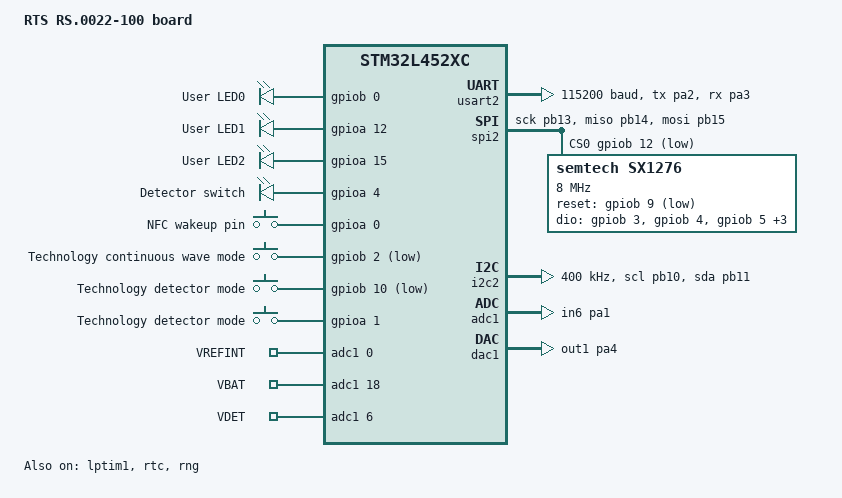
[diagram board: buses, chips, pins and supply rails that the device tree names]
/dts-v1/;
#include <st/l4/stm32l452Xc.dtsi>
#include <st/l4/stm32l452c(c-e)ux-pinctrl.dtsi>

/ {
    model = "RTS RS.0022-100 board";
    compatible = "rts,rs_0022_100";

    chosen {
        zephyr,console = &usart2;
        zephyr,shell-uart = &usart2;
        zephyr,sram = &sram0;
        zephyr,flash = &flash0;
    };

    power-states {
        stop0: state0 {
            compatible = "zephyr,power-state";
            power-state-name = "suspend-to-idle";
            substate-id = <1>;
            min-residency-us = <100>;
        };
        stop1: state1 {
            compatible = "zephyr,power-state";
            power-state-name = "suspend-to-idle";
            substate-id = <2>;
            min-residency-us = <500>;
        };
        stop2: state2 {
            compatible = "zephyr,power-state";
            power-state-name = "suspend-to-idle";
            substate-id = <3>;
            min-residency-us = <900>;
        };
    };

    leds {
        compatible = "gpio-leds";
        yellow_led: led_0 {
            gpios = <&gpiob 0 GPIO_ACTIVE_HIGH>;
            label = "User LED0";
        };
        green_led: led_1 {
            gpios = <&gpioa 12 GPIO_ACTIVE_HIGH>;
            label = "User LED1";
        };
        red_led: led_2 {
            gpios = <&gpioa 15 GPIO_ACTIVE_HIGH>;
            label = "User LED2";
        };
        detector_sw: det {
            gpios = <&gpioa 4 GPIO_ACTIVE_HIGH>;
            label = "Detector switch";
        };
    };

    keys {
        compatible = "gpio-keys";
        nfc_wkup: nfc_int {
            gpios = <&gpioa 0 GPIO_ACTIVE_HIGH>;
            label = "NFC wakeup pin";
        };
        technology_cw: pb2 {
            gpios = <&gpiob 2 (GPIO_ACTIVE_LOW|GPIO_PULL_UP)>;
            label = "Technology continuous wave mode";
        };
        technology_sensor: pb10 {
            gpios = <&gpiob 10 (GPIO_ACTIVE_LOW|GPIO_PULL_UP)>;
            label = "Technology detector mode";
        };
        comp_pin: pa1 {
            gpios = <&gpioa 1 GPIO_ACTIVE_HIGH>;
            label = "Technology detector mode";
        };
    };

    zephyr,user {
        dac = <&dac1>;
        dac-channel-id = <1>;
        dac-resolution = <12>;
        io-channels = <&adc1 0>, <&adc1 18>, <&adc1 6>;
        io-channel-names = "VREFINT", "VBAT", "VDET";
        adc-resolution = <12>;
    };

    aliases {
        led0 = &yellow_led;
        led1 = &green_led;
        led2 = &red_led;
        lora0 = &lora0;
        wkup = &nfc_wkup;
        detector-sw = &detector_sw;
        cw = &technology_cw;
        sens = &technology_sensor;
        comp-pin = &comp_pin;
    };
};

&cpu0 {
    cpu-power-states = <&stop0 &stop1 &stop2>;
};

&clk_hsi {
    status = "okay";
};

&clk_lsi {
    status = "okay";
};

&lptim1 {
    status = "okay";
};

&pll {
    status = "okay";
    div-m = <1>;            /*  16 / 1  = 16MHz  */
    mul-n = <20>;           /*  16 * 20 = 320MHz */
    div-r = <4>;            /* 320 / 4  = 80MHz  */
    clocks = <&clk_hsi>;
};

&rcc {
    status = "okay";
    clocks = <&pll>;
    clock-frequency = <DT_FREQ_M(80)>;
    ahb-prescaler = <1>;
    apb1-prescaler = <1>;
    apb2-prescaler = <1>;
};

&usart2 {
    status = "okay";
    pinctrl-0 = <&usart2_tx_pa2 &usart2_rx_pa3>;
    pinctrl-names = "default";
    current-speed = <115200>;
};

&dma1 {
    status = "okay";
};

&spi1 {
    status = "disabled";
    pinctrl-0 = <&spi1_sck_pa5 &spi1_miso_pa6 &spi1_mosi_pa7>;
    pinctrl-names = "default";
};

&spi2 {
    status = "okay";
    pinctrl-0 = <&spi2_sck_pb13 &spi2_miso_pb14 &spi2_mosi_pb15>;
    pinctrl-names = "default";
    cs-gpios = <&gpiob 12 (GPIO_ACTIVE_LOW | GPIO_PULL_UP)>;
    lora0: sx1276@0 {
        status = "okay";
        compatible = "semtech,sx1276";
        reg = <0>;
        label = "SX1276";
        spi-max-frequency = <8000000>;
        reset-gpios = <&gpiob 9 (GPIO_ACTIVE_LOW | GPIO_OPEN_DRAIN)>;
        dio-gpios = <&gpiob 3 (GPIO_ACTIVE_HIGH | GPIO_PULL_DOWN)>,
                    <&gpiob 4 (GPIO_ACTIVE_HIGH | GPIO_PULL_DOWN)>,
                    <&gpiob 5 (GPIO_ACTIVE_HIGH | GPIO_PULL_DOWN)>,
                    <&gpiob 7 (GPIO_ACTIVE_HIGH | GPIO_PULL_DOWN)>,
                    <&gpiob 6 (GPIO_ACTIVE_HIGH | GPIO_PULL_DOWN)>,
                    <&gpiob 8 (GPIO_ACTIVE_HIGH | GPIO_PULL_DOWN)>;
        power-amplifier-output = "rfo";
    };
};

&i2c2 {
    status = "okay";
    pinctrl-0 = <&i2c2_scl_pb10 &i2c2_sda_pb11>;
    pinctrl-names = "default";
    clock-frequency = <I2C_BITRATE_FAST>;
};

&adc1 {
    pinctrl-0 = <&adc1_in6_pa1>;
    pinctrl-names = "default";
    status = "okay";
};

&dac1 {
    pinctrl-0 = <&dac1_out1_pa4>;
    pinctrl-names = "default";
    status = "okay";
};

&rtc {
    status = "okay";
};

&rng {
    status = "okay";
};

&flash0 {
    /*
     * For more information, see:
     * http://docs.zephyrproject.org/latest/guides/dts/index.html#flash-partitions
     */
    partitions {
        compatible = "fixed-partitions";
        #address-cells = <1>;
        #size-cells = <1>;
        /*
        boot_partition: partition@0 {
            label = "mcuboot";
            reg = <0x00000000 0xc000>;
        };
        slot0_partition: partition@c000 {
            label = "image-0";
            reg = <0x0000C000 0x32000>;
        };
        slot1_partition: partition@3e000 {
            label = "image-1";
            reg = <0x0003E000 0x32000>;
        };
        scratch_partition: partition@70000 {
            label = "image-scratch";
            reg = <0x00070000 0xa000>;
        };
        */
        storage_partition: partition@3c000 {
            label = "storage";
            reg = <0x0003c000 0x00004000>;
        };
    };

};
